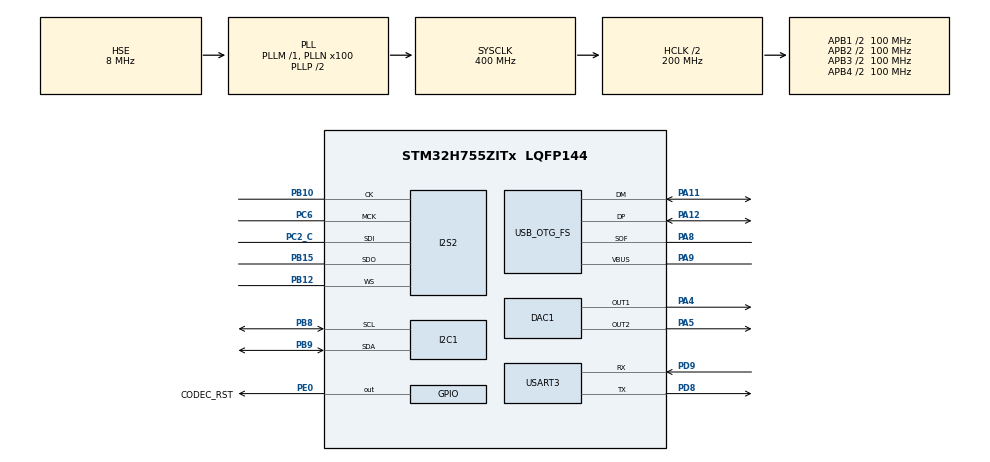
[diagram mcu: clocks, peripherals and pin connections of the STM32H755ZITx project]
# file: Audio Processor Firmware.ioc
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CORTEX_M7.AccessPermission-Cortex_Memory_Protection_Unit_Region0_Settings=MPU_REGION_FULL_ACCESS
CORTEX_M7.BaseAddress-Cortex_Memory_Protection_Unit_Region0_Settings=0x24070000
CORTEX_M7.CPU_DCache=Enabled
CORTEX_M7.CPU_ICache=Enabled
CORTEX_M7.Enable-Cortex_Memory_Protection_Unit_Region0_Settings=MPU_REGION_ENABLE
CORTEX_M7.IsBufferable-Cortex_Memory_Protection_Unit_Region0_Settings=MPU_ACCESS_NOT_BUFFERABLE
CORTEX_M7.IsCacheable-Cortex_Memory_Protection_Unit_Region0_Settings=MPU_ACCESS_CACHEABLE
CORTEX_M7.MPU_Control=MPU_PRIVILEGED_DEFAULT
CORTEX_M7.Size-Cortex_Memory_Protection_Unit_Region0_Settings=MPU_REGION_SIZE_32KB
CORTEX_M7.default_mode_Activation=0
CortexM4.IPs=CORTEX_M4\:I,DEBUG,FATFS_M4\:I,FREERTOS_M4\:I,IWDG2\:I,OPENAMP_M4\:I,PDM2PCM_M4\:I,PWR,RCC,RESMGR_UTILITY,SYS_M4\:I,USB_DEVICE_M4\:I,USB_HOST_M4\:I,VREFBUF,WWDG2\:I,GPIO,DMA,BDMA,MDMA,NVIC2\:I,I2S2
CortexM7.IPs=CORTEX_M7\:I,DEBUG\:I,FATFS_M7\:I,FREERTOS_M7\:I,IWDG1\:I,OPENAMP_M7\:I,PDM2PCM_M7\:I,PWR\:I,RCC\:I,RESMGR_UTILITY\:I,SYS\:I,USB_DEVICE_M7\:I,USB_HOST_M7\:I,VREFBUF\:I,WWDG1\:I,GPIO\:I,DMA\:I,BDMA\:I,MDMA\:I,NVIC1\:I,USART3\:I,DAC1\:I,TIM6\:I,I2C1\:I,I2S2\:I,TIM2\:I,USB_OTG_FS\:I
CortexM7.Pins=PE0
DAC1.DAC_Channel-DAC_OUT1=DAC_CHANNEL_1
DAC1.DAC_Channel-DAC_OUT2=DAC_CHANNEL_2
DAC1.DAC_Trigger-DAC_OUT1=DAC_TRIGGER_T6_TRGO
Dma.DAC1_CH1.0.Direction=DMA_MEMORY_TO_PERIPH
Dma.DAC1_CH1.0.EventEnable=DISABLE
Dma.DAC1_CH1.0.FIFOMode=DMA_FIFOMODE_DISABLE
Dma.DAC1_CH1.0.Instance=DMA1_Stream0
Dma.DAC1_CH1.0.MemDataAlignment=DMA_MDATAALIGN_HALFWORD
Dma.DAC1_CH1.0.MemInc=DMA_MINC_ENABLE
Dma.DAC1_CH1.0.Mode=DMA_CIRCULAR
Dma.DAC1_CH1.0.PeriphDataAlignment=DMA_PDATAALIGN_HALFWORD
Dma.DAC1_CH1.0.PeriphInc=DMA_PINC_DISABLE
Dma.DAC1_CH1.0.Polarity=HAL_DMAMUX_REQ_GEN_RISING
Dma.DAC1_CH1.0.Priority=DMA_PRIORITY_LOW
Dma.DAC1_CH1.0.RequestNumber=1
Dma.DAC1_CH1.0.SignalID=NONE
Dma.DAC1_CH1.0.SyncEnable=DISABLE
Dma.DAC1_CH1.0.SyncPolarity=HAL_DMAMUX_SYNC_NO_EVENT
Dma.DAC1_CH1.0.SyncRequestNumber=1
Dma.DAC1_CH1.0.SyncSignalID=NONE
Dma.DAC1_CH2.3.Direction=DMA_MEMORY_TO_PERIPH
Dma.DAC1_CH2.3.EventEnable=DISABLE
Dma.DAC1_CH2.3.FIFOMode=DMA_FIFOMODE_DISABLE
Dma.DAC1_CH2.3.Instance=DMA1_Stream3
Dma.DAC1_CH2.3.MemDataAlignment=DMA_MDATAALIGN_BYTE
Dma.DAC1_CH2.3.MemInc=DMA_MINC_ENABLE
Dma.DAC1_CH2.3.Mode=DMA_NORMAL
Dma.DAC1_CH2.3.PeriphDataAlignment=DMA_PDATAALIGN_BYTE
Dma.DAC1_CH2.3.PeriphInc=DMA_PINC_DISABLE
Dma.DAC1_CH2.3.Polarity=HAL_DMAMUX_REQ_GEN_RISING
Dma.DAC1_CH2.3.Priority=DMA_PRIORITY_LOW
Dma.DAC1_CH2.3.RequestNumber=1
Dma.DAC1_CH2.3.SignalID=NONE
Dma.DAC1_CH2.3.SyncEnable=DISABLE
Dma.DAC1_CH2.3.SyncPolarity=HAL_DMAMUX_SYNC_NO_EVENT
Dma.DAC1_CH2.3.SyncRequestNumber=1
Dma.DAC1_CH2.3.SyncSignalID=NONE
Dma.Request0=DAC1_CH1
Dma.Request1=SPI2_TX
Dma.Request2=SPI2_RX
Dma.Request3=DAC1_CH2
Dma.SPI2_RX.2.Direction=DMA_PERIPH_TO_MEMORY
Dma.SPI2_RX.2.EventEnable=DISABLE
Dma.SPI2_RX.2.FIFOMode=DMA_FIFOMODE_DISABLE
Dma.SPI2_RX.2.Instance=DMA1_Stream2
Dma.SPI2_RX.2.MemDataAlignment=DMA_MDATAALIGN_WORD
Dma.SPI2_RX.2.MemInc=DMA_MINC_ENABLE
Dma.SPI2_RX.2.Mode=DMA_CIRCULAR
Dma.SPI2_RX.2.PeriphDataAlignment=DMA_PDATAALIGN_WORD
Dma.SPI2_RX.2.PeriphInc=DMA_PINC_DISABLE
Dma.SPI2_RX.2.Polarity=HAL_DMAMUX_REQ_GEN_RISING
Dma.SPI2_RX.2.Priority=DMA_PRIORITY_LOW
Dma.SPI2_RX.2.RequestNumber=1
Dma.SPI2_RX.2.SignalID=NONE
Dma.SPI2_RX.2.SyncEnable=DISABLE
Dma.SPI2_RX.2.SyncPolarity=HAL_DMAMUX_SYNC_NO_EVENT
Dma.SPI2_RX.2.SyncRequestNumber=1
Dma.SPI2_RX.2.SyncSignalID=NONE
Dma.SPI2_TX.1.Direction=DMA_MEMORY_TO_PERIPH
Dma.SPI2_TX.1.EventEnable=DISABLE
Dma.SPI2_TX.1.FIFOMode=DMA_FIFOMODE_DISABLE
Dma.SPI2_TX.1.Instance=DMA1_Stream1
Dma.SPI2_TX.1.MemDataAlignment=DMA_MDATAALIGN_WORD
Dma.SPI2_TX.1.MemInc=DMA_MINC_ENABLE
Dma.SPI2_TX.1.Mode=DMA_CIRCULAR
Dma.SPI2_TX.1.PeriphDataAlignment=DMA_PDATAALIGN_WORD
Dma.SPI2_TX.1.PeriphInc=DMA_PINC_DISABLE
Dma.SPI2_TX.1.Polarity=HAL_DMAMUX_REQ_GEN_RISING
Dma.SPI2_TX.1.Priority=DMA_PRIORITY_LOW
Dma.SPI2_TX.1.RequestNumber=1
Dma.SPI2_TX.1.SignalID=NONE
Dma.SPI2_TX.1.SyncEnable=DISABLE
Dma.SPI2_TX.1.SyncPolarity=HAL_DMAMUX_SYNC_NO_EVENT
Dma.SPI2_TX.1.SyncRequestNumber=1
Dma.SPI2_TX.1.SyncSignalID=NONE
I2C1.CustomTiming=Disabled
I2C1.I2C_Fall_Time=0
I2C1.I2C_Rise_Time=0
I2C1.Speed=20
I2C1.Timing=0xD01065FD
I2S2.AudioFreq=I2S_AUDIOFREQ_48K
I2S2.CPOL=I2S_CPOL_LOW
I2S2.Data24BitAlignment=I2S_DATA_24BIT_ALIGNMENT_RIGHT
I2S2.DataFormat=I2S_DATAFORMAT_24B
I2S2.ErrorAudioFreq=0.15 %
I2S2.Instance=SPI$Index
I2S2.RealAudioFreq=48.076 KHz
I2S2.Standard=I2S_STANDARD_PHILIPS
Mcu.Family=STM32H7
Mcu.Name=STM32H755ZITx
Mcu.Package=LQFP144
NVIC1.DMA1_Stream0_IRQn=true\:0\:0\:false\:false\:true\:false\:true\:true
NVIC1.DMA1_Stream1_IRQn=true\:0\:0\:false\:false\:true\:false\:true\:true
NVIC1.DMA1_Stream2_IRQn=true\:0\:0\:false\:false\:true\:false\:true\:true
NVIC1.DMA1_Stream3_IRQn=true\:0\:0\:false\:false\:true\:false\:true\:true
NVIC1.OTG_FS_IRQn=true\:0\:0\:false\:false\:true\:false\:true\:true
NVIC1.PriorityGroup=NVIC_PRIORITYGROUP_4
NVIC1.SPI2_IRQn=true\:2\:0\:true\:false\:true\:true\:true\:true
NVIC1.TIM6_DAC_IRQn=true\:2\:0\:true\:false\:true\:true\:true\:true
NVIC1.USART3_IRQn=true\:3\:0\:true\:false\:true\:true\:true\:true
NVIC2.PriorityGroup=NVIC_PRIORITYGROUP_4
PA11.Mode=Device_Only
PA11.PinAttribute=CortexM7
PA11.Signal=USB_OTG_FS_DM
PA12.Mode=Device_Only
PA12.PinAttribute=CortexM7
PA12.Signal=USB_OTG_FS_DP
PA4.PinAttribute=CortexM7
PA4.Signal=COMP_DAC11_group
PA5.PinAttribute=CortexM7
PA5.Signal=COMP_DAC12_group
PA8.Mode=Activate_SOF_FS
PA8.PinAttribute=CortexM7
PA8.Signal=USB_OTG_FS_SOF
PA9.Mode=Activate_VBUS
PA9.PinAttribute=CortexM7
PA9.Signal=USB_OTG_FS_VBUS
PB10.Mode=Full_Duplex_Master
PB10.PinAttribute=CortexM7
PB10.Signal=I2S2_CK
PB12.Mode=Full_Duplex_Master
PB12.PinAttribute=CortexM7
PB12.Signal=I2S2_WS
PB15.Mode=Full_Duplex_Master
PB15.PinAttribute=CortexM7
PB15.Signal=I2S2_SDO
PB8.Mode=I2C
PB8.PinAttribute=CortexM7
PB8.Signal=I2C1_SCL
PB9.Mode=I2C
PB9.PinAttribute=CortexM7
PB9.Signal=I2C1_SDA
PC2_C.Mode=Full_Duplex_Master
PC2_C.PinAttribute=CortexM7
PC2_C.Signal=I2S2_SDI
PC6.Mode=Master_Clock_Activated
PC6.PinAttribute=CortexM7
PC6.Signal=I2S2_MCK
PD8.Mode=Asynchronous
PD8.PinAttribute=CortexM7
PD8.Signal=USART3_TX
PD9.Mode=Asynchronous
PD9.PinAttribute=CortexM7
PD9.Signal=USART3_RX
PE0.GPIO_Label=CODEC_RST
PE0.PinAttribute=CortexM7
PE0.Signal=GPIO_Output
PH0-OSC_IN\ (PH0).Mode=HSE-External-Clock-Source
PH0-OSC_IN\ (PH0).PinAttribute=Free
PH0-OSC_IN\ (PH0).Signal=RCC_OSC_IN
ProjectManager.HeapSize=M4-0x400,M7-0x4000
ProjectManager.StackSize=M4-0x400,M7-0x2000
ProjectManager.TargetToolchain=STM32CubeIDE
RCC.ADCFreq_Value=16125000
RCC.APB1Freq_Value=100000000
RCC.APB2Freq_Value=100000000
RCC.APB3Freq_Value=100000000
RCC.APB4Freq_Value=100000000
RCC.CortexFreq_Value=400000000
RCC.D1PPRE=RCC_APB3_DIV2
RCC.D2PPRE1=RCC_APB1_DIV2
RCC.D2PPRE2=RCC_APB2_DIV2
RCC.D3PPRE=RCC_APB4_DIV2
RCC.DIVM1=1
RCC.DIVM3=1
RCC.DIVN1=100
RCC.DIVN3=24
RCC.DIVQ1=13
RCC.DIVQ3=4
RCC.HCLKFreq_Value=200000000
RCC.HPRE=RCC_HCLK_DIV2
RCC.HSE_VALUE=8000000
RCC.PLL1_VCI_Range-AdvancedSettings=RCC_PLL1VCIRANGE_0
RCC.PLL2FRACN=0
RCC.PLL3FRACN=0
RCC.PLL3_VCI_Range-AdvancedSettings=RCC_PLL3VCIRANGE_0
RCC.PLLFRACN=0
RCC.PLLSourceVirtual=RCC_PLLSOURCE_HSE
RCC.PWR_Regulator_Voltage_Scale=PWR_REGULATOR_VOLTAGE_SCALE1
RCC.SYSCLKFreq_VALUE=400000000
RCC.SYSCLKSource=RCC_SYSCLKSOURCE_PLLCLK
RCC.USBCLockSelection=RCC_USBCLKSOURCE_PLL3
RCC.USBFreq_Value=48000000
SH.COMP_DAC11_group.0=DAC1_OUT1,DAC_OUT1
SH.COMP_DAC12_group.0=DAC1_OUT2,DAC_OUT2
SYS.userName=SYS_M7
TIM6.AutoReloadPreload=TIM_AUTORELOAD_PRELOAD_DISABLE
TIM6.Period=4150
TIM6.TIM_MasterOutputTrigger=TIM_TRGO_UPDATE
USART3.VirtualMode-Asynchronous=VM_ASYNC
USB_DEVICE_M7.CLASS_NAME_FS=AUDIO
USB_DEVICE_M7.USBD_AUDIO_FREQ-AUDIO_FS=48000
USB_DEVICE_M7.USBD_MAX_NUM_INTERFACES-AUDIO_FS=2
USB_DEVICE_M7.VirtualMode-AUDIO_FS=Audio
USB_DEVICE_M7.VirtualModeFS=Audio_FS
USB_OTG_FS.Sof_enable=ENABLE
USB_OTG_FS.VirtualMode=Device_Only
VP_SYS_M4_VS_Systick.Mode=SysTick
VP_TIM2_VS_ClockSourceINT.Mode=Internal
VP_TIM6_VS_ClockSourceINT.Mode=Enable_Timer
VP_USB_DEVICE_M7_VS_USB_DEVICE_AUDIO_FS.Mode=AUDIO_FS
board=custom

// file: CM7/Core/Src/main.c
/* USER CODE BEGIN Header */
/**
 ******************************************************************************
 * @file           : main.c
 * @brief          : Main program body
 ******************************************************************************
 * @attention
 *
 * Copyright (c) 2024 STMicroelectronics.
 * All rights reserved.
 *
 * This software is licensed under terms that can be found in the LICENSE file
 * in the root directory of this software component.
 * If no LICENSE file comes with this software, it is provided AS-IS.
 *
 ******************************************************************************
 */
/* USER CODE END Header */
#include "main.h"
#include "usb_device.h"

/* USER CODE BEGIN Includes */
#include "audio_defs.h"
#include "internal_peripheral_driver.h"
#include "cs4272.h"
#include "encoder.h"
#include "delay_line.h"
#include "console.h"
#include "uart_driver.h"
#include "driver_manager.h"
#include "block.h"
#include "channel.h"
#include "lsblk.h"
#include "insblk.h"
#include "help.h"
#include "stat.h"
#include "lsdrv.h"
#include "lsparam.h"
#include "lschain.h"
#include "rmblk.h"
#include "setparam.h"
#include "mkdelay.h"
#include "mkbiquad.h"
#include "mkeq.h"
#include "block_list.h"
#include "con_modulator.h"
#include "logger.h"
#include "usb_audio_driver.h"
#include "arm_math.h"
#include "audio_engine.h"
/* USER CODE END Includes */

/* USER CODE BEGIN PD */

#ifndef HSEM_ID_0
#define HSEM_ID_0 (0U) /* HW semaphore 0*/
#endif

/* USER CODE END PD */

DAC_HandleTypeDef hdac1;
DMA_HandleTypeDef hdma_dac1_ch1;
DMA_HandleTypeDef hdma_dac1_ch2;

I2C_HandleTypeDef hi2c1;

I2S_HandleTypeDef hi2s2;
DMA_HandleTypeDef hdma_spi2_tx;
DMA_HandleTypeDef hdma_spi2_rx;

TIM_HandleTypeDef htim2;
TIM_HandleTypeDef htim6;

UART_HandleTypeDef huart3;

/* USER CODE BEGIN PV */

struct AudioDriver mcu_internal_driver =
{
		.io_ops = &int_per_drv_ops,
		.name = "MCU Internal Hardware Driver",
		.private_data = &hdac1
};

struct TerminalDriver uart_driver =
{
		.io_ops = &uart_drv_ops,
		.name = "UART Driver",
		.private_data = &huart3
};

struct CS4272_PrivateData cs4272_pd =
{
		.i2s_hndl = &hi2s2,
		.i2c_hndl = &hi2c1
};

struct AudioDriver cs4272_driver =
{
		.io_ops = &cs4272_ops,
		.name = "Cirrus Logic CS4272 CODEC Driver",
		.private_data = &cs4272_pd
};

struct HostDriver usb_driver =
{
		.io_ops = &usb_audio_class_driver,
		.name = "USB Audio Class Driver",
		.private_data = NULL
};

float32_t processing_buffers[SAMPLES_PER_BLOCK * NUM_CHANNELS];
float32_t processing_buffers2[SAMPLES_PER_BLOCK * NUM_CHANNELS];

uint8_t temp_next_block_ready;

char* script_delaylines =
	"mkdelay dl_0 2 50000\n\
setparam dl_0 0 0\n\
setparam dl_0 1 24000\n\
setparam dl_0 2 1.0\n\
setparam dl_0 3 0.5\n\
setparam dl_0 4 0.25\n\
mkdelay dl_1 2 50000\n\
setparam dl_1 0 0\n\
setparam dl_1 1 24000\n\
setparam dl_1 2 1.0\n\
setparam dl_1 3 0.5\n\
setparam dl_1 4 0.25\n\
insblk dl_0 0\n\
insblk dl_1 1\n\
END";

char* script_filters =
	"mkbiquad bq_0 2 220 0.5 2 48000\n\
insblk bq_0 0\n\
mkbiquad bq_1 0 220 0.5 2 48000\n\
insblk bq_1 1\n\
END";

char* script_eq =
	"mkeq eq_0\n\
insblk eq_0 0\n\
END";
/* USER CODE END PV */

void SystemClock_Config(void);
static void MPU_Initialize(void);
static void MPU_Config(void);
static void MX_GPIO_Init(void);
static void MX_DMA_Init(void);
static void MX_DAC1_Init(void);
static void MX_USART3_UART_Init(void);
static void MX_TIM6_Init(void);
static void MX_I2C1_Init(void);
static void MX_I2S2_Init(void);
static void MX_TIM2_Init(void);

/* USER CODE BEGIN 0 */
static float32_t test[128];
static float32_t t = 0;
inline static void process_block()
{
	LOG_TIME_START(LOG_TIME_PRBLOCK_ID);

	LOG_TIME_START(LOG_TIME_USB_RD);
	host_device->io_ops->dev_data_read(host_device, processing_buffers, SAMPLES_PER_BLOCK * 2);
	LOG_TIME_STOP(LOG_TIME_USB_RD);

	audio_engine_process(processing_buffers, processing_buffers2, SAMPLES_PER_BLOCK);

	LOG_TIME_START(LOG_TIME_AUDIO_WR);
	audio_device->io_ops->write(audio_device, processing_buffers2, SAMPLES_PER_BLOCK);
	LOG_TIME_STOP(LOG_TIME_AUDIO_WR);

	for (size_t i = 0; i < 128; i++)
	{
		test[i] = sin(t);
		t += 2.f * 3.1415f * 20.f / 48000.f;
		if (t >= 2.f * 3.1415f)
			t -= 2.f * 3.1415f;
	}
	host_device->io_ops->dev_data_write(host_device, test, 128);

	LOG_TIME_STOP(LOG_TIME_PRBLOCK_ID);
}

/* USER CODE END 0 */

int main(void)
{
  /* USER CODE BEGIN 1 */
	// AUDIO

  /* USER CODE END 1 */
/* USER CODE BEGIN Boot_Mode_Sequence_0 */
	//int32_t timeout;
/* USER CODE END Boot_Mode_Sequence_0 */

  /* Enable I-Cache---------------------------------------------------------*/
  //SCB_EnableICache();

  /* Enable D-Cache---------------------------------------------------------*/
  //SCB_EnableDCache();

/* USER CODE BEGIN Boot_Mode_Sequence_1 */
	/* Wait until CPU2 boots and enters in stop mode or timeout*/
	/*timeout = 0xFFFF;
	while((__HAL_RCC_GET_FLAG(RCC_FLAG_D2CKRDY) != RESET) && (timeout-- > 0));
	if ( timeout < 0 )
	{
		Error_Handler();
	}*/
/* USER CODE END Boot_Mode_Sequence_1 */
  /* MCU Configuration--------------------------------------------------------*/

  /* Reset of all peripherals, Initializes the Flash interface and the Systick. */
  HAL_Init();

  /* MPU Configuration--------------------------------------------------------*/
  MPU_Config();

  /* Configure the system clock */
  SystemClock_Config();
/* USER CODE BEGIN Boot_Mode_Sequence_2 */
	/* When system initialization is finished, Cortex-M7 will release Cortex-M4 by means of
HSEM notification */
	/*HW semaphore Clock enable*/
	__HAL_RCC_HSEM_CLK_ENABLE();
	/*Take HSEM */
	HAL_HSEM_FastTake(HSEM_ID_0);
	/*Release HSEM in order to notify the CPU2(CM4)*/
	HAL_HSEM_Release(HSEM_ID_0,0);
	/* wait until CPU2 wakes up from stop mode */

/* USER CODE END Boot_Mode_Sequence_2 */

  /* Initialize all configured peripherals */
  MX_GPIO_Init();
  MX_DMA_Init();
  MX_DAC1_Init();
  MX_USART3_UART_Init();
  MX_TIM6_Init();
  MX_I2C1_Init();
  MX_I2S2_Init();
  MX_TIM2_Init();
  MX_USB_DEVICE_Init();
  /* USER CODE BEGIN 2 */
#ifdef ENABLE_LOGGING
  logger_init(&htim2);
  logger_timer_set_name(LOG_TIME_PRBLOCK_ID, "process_block");
  logger_timer_set_name(LOG_TIME_USB_RD, "usb_driver_read");
  logger_timer_set_name(LOG_TIME_USB_WR, "usb_driver_write");
  logger_timer_set_name(LOG_TIME_AUDIO_WR, "audio_driver_write");
  logger_timer_set_name(LOG_AUDENG_PROCESS_1, "audio_stream_1_process");
  logger_timer_set_name(LOG_AUDENG_PROCESS_2, "audio_stream_2_process");
#endif
  drvman_init();
  drvman_set_terminal_driver(&uart_driver);
  console_init();

  for (size_t i = 0; i < 25; i++)
	  console_printf("\n\r");

  console_printf("=========================================\n\r");
  console_printf("      Audio Processor Firmware v0.1      \n\r");
  console_printf("=========================================\n\r");

  blocklist_init();

  console_register_command("help\0", help);
  console_register_command("stat\0", stat);
  console_register_command("lsblk\0", lsblk);
  console_register_command("mkdelay\0", mkdelay);
  console_register_command("mkmod\0", modulator_create);
  console_register_command("mkbiquad\0", mkbiquad);
  console_register_command("mkeq\0", mkeq);
  console_register_command("insblk\0", insblk);
  console_register_command("rmblk\0", rmblk);
  console_register_command("lsdrv\0", lsdrv);
  console_register_command("lsparam\0", lsparam);
  console_register_command("lschain\0", lschain);
  console_register_command("setparam\0", setparam);

  drvman_set_host_driver(&usb_driver);
  drvman_set_audio_driver(&cs4272_driver);

  audio_engine_init();

  console_exec("");
  //console_exec_script(script_eq);
  /* USER CODE END 2 */

  /* Infinite loop */
  /* USER CODE BEGIN WHILE */
  uint32_t t = 0;
  uint8_t test[3] = {5, 5, 5};

	while (1)
	{
		console_iteration();
		if (temp_next_block_ready)
		{
			process_block();
			temp_next_block_ready = 0;
		}
    /* USER CODE END WHILE */

	}
}

void SystemClock_Config(void)
{
  RCC_OscInitTypeDef RCC_OscInitStruct = {0};
  RCC_ClkInitTypeDef RCC_ClkInitStruct = {0};

  /** Supply configuration update enable
  */
  HAL_PWREx_ConfigSupply(PWR_DIRECT_SMPS_SUPPLY);

  /** Configure the main internal regulator output voltage
  */
  __HAL_PWR_VOLTAGESCALING_CONFIG(PWR_REGULATOR_VOLTAGE_SCALE1);

  while(!__HAL_PWR_GET_FLAG(PWR_FLAG_VOSRDY)) {}

  /** Initializes the RCC Oscillators according to the specified parameters
  * in the RCC_OscInitTypeDef structure.
  */
  RCC_OscInitStruct.OscillatorType = RCC_OSCILLATORTYPE_HSE;
  RCC_OscInitStruct.HSEState = RCC_HSE_BYPASS;
  RCC_OscInitStruct.PLL.PLLState = RCC_PLL_ON;
  RCC_OscInitStruct.PLL.PLLSource = RCC_PLLSOURCE_HSE;
  RCC_OscInitStruct.PLL.PLLM = 1;
  RCC_OscInitStruct.PLL.PLLN = 100;
  RCC_OscInitStruct.PLL.PLLP = 2;
  RCC_OscInitStruct.PLL.PLLQ = 13;
  RCC_OscInitStruct.PLL.PLLR = 2;
  RCC_OscInitStruct.PLL.PLLRGE = RCC_PLL1VCIRANGE_3;
  RCC_OscInitStruct.PLL.PLLVCOSEL = RCC_PLL1VCOWIDE;
  RCC_OscInitStruct.PLL.PLLFRACN = 0;
  if (HAL_RCC_OscConfig(&RCC_OscInitStruct) != HAL_OK)
  {
    Error_Handler();
  }

  /** Initializes the CPU, AHB and APB buses clocks
  */
  RCC_ClkInitStruct.ClockType = RCC_CLOCKTYPE_HCLK|RCC_CLOCKTYPE_SYSCLK
                              |RCC_CLOCKTYPE_PCLK1|RCC_CLOCKTYPE_PCLK2
                              |RCC_CLOCKTYPE_D3PCLK1|RCC_CLOCKTYPE_D1PCLK1;
  RCC_ClkInitStruct.SYSCLKSource = RCC_SYSCLKSOURCE_PLLCLK;
  RCC_ClkInitStruct.SYSCLKDivider = RCC_SYSCLK_DIV1;
  RCC_ClkInitStruct.AHBCLKDivider = RCC_HCLK_DIV2;
  RCC_ClkInitStruct.APB3CLKDivider = RCC_APB3_DIV2;
  RCC_ClkInitStruct.APB1CLKDivider = RCC_APB1_DIV2;
  RCC_ClkInitStruct.APB2CLKDivider = RCC_APB2_DIV2;
  RCC_ClkInitStruct.APB4CLKDivider = RCC_APB4_DIV2;

  if (HAL_RCC_ClockConfig(&RCC_ClkInitStruct, FLASH_LATENCY_2) != HAL_OK)
  {
    Error_Handler();
  }
}

static void MX_DAC1_Init(void)
{

  DAC_ChannelConfTypeDef sConfig = {0};

  /** DAC Initialization
  */
  hdac1.Instance = DAC1;
  if (HAL_DAC_Init(&hdac1) != HAL_OK)
  {
    Error_Handler();
  }

  /** DAC channel OUT1 config
  */
  sConfig.DAC_SampleAndHold = DAC_SAMPLEANDHOLD_DISABLE;
  sConfig.DAC_Trigger = DAC_TRIGGER_T6_TRGO;
  sConfig.DAC_OutputBuffer = DAC_OUTPUTBUFFER_ENABLE;
  sConfig.DAC_ConnectOnChipPeripheral = DAC_CHIPCONNECT_DISABLE;
  sConfig.DAC_UserTrimming = DAC_TRIMMING_FACTORY;
  if (HAL_DAC_ConfigChannel(&hdac1, &sConfig, DAC_CHANNEL_1) != HAL_OK)
  {
    Error_Handler();
  }

  /** DAC channel OUT2 config
  */
  sConfig.DAC_Trigger = DAC_TRIGGER_NONE;
  if (HAL_DAC_ConfigChannel(&hdac1, &sConfig, DAC_CHANNEL_2) != HAL_OK)
  {
    Error_Handler();
  }

}

static void MX_I2C1_Init(void)
{

  hi2c1.Instance = I2C1;
  hi2c1.Init.Timing = 0xD01065FD;
  hi2c1.Init.OwnAddress1 = 0;
  hi2c1.Init.AddressingMode = I2C_ADDRESSINGMODE_7BIT;
  hi2c1.Init.DualAddressMode = I2C_DUALADDRESS_DISABLE;
  hi2c1.Init.OwnAddress2 = 0;
  hi2c1.Init.OwnAddress2Masks = I2C_OA2_NOMASK;
  hi2c1.Init.GeneralCallMode = I2C_GENERALCALL_DISABLE;
  hi2c1.Init.NoStretchMode = I2C_NOSTRETCH_DISABLE;
  if (HAL_I2C_Init(&hi2c1) != HAL_OK)
  {
    Error_Handler();
  }

  /** Configure Analogue filter
  */
  if (HAL_I2CEx_ConfigAnalogFilter(&hi2c1, I2C_ANALOGFILTER_ENABLE) != HAL_OK)
  {
    Error_Handler();
  }

  /** Configure Digital filter
  */
  if (HAL_I2CEx_ConfigDigitalFilter(&hi2c1, 0) != HAL_OK)
  {
    Error_Handler();
  }

}

static void MX_I2S2_Init(void)
{

  hi2s2.Instance = SPI2;
  hi2s2.Init.Mode = I2S_MODE_MASTER_FULLDUPLEX;
  hi2s2.Init.Standard = I2S_STANDARD_PHILIPS;
  hi2s2.Init.DataFormat = I2S_DATAFORMAT_24B;
  hi2s2.Init.MCLKOutput = I2S_MCLKOUTPUT_ENABLE;
  hi2s2.Init.AudioFreq = I2S_AUDIOFREQ_48K;
  hi2s2.Init.CPOL = I2S_CPOL_LOW;
  hi2s2.Init.FirstBit = I2S_FIRSTBIT_MSB;
  hi2s2.Init.WSInversion = I2S_WS_INVERSION_DISABLE;
  hi2s2.Init.Data24BitAlignment = I2S_DATA_24BIT_ALIGNMENT_RIGHT;
  hi2s2.Init.MasterKeepIOState = I2S_MASTER_KEEP_IO_STATE_DISABLE;
  if (HAL_I2S_Init(&hi2s2) != HAL_OK)
  {
    Error_Handler();
  }

}

static void MX_TIM2_Init(void)
{

  TIM_ClockConfigTypeDef sClockSourceConfig = {0};
  TIM_MasterConfigTypeDef sMasterConfig = {0};

  htim2.Instance = TIM2;
  htim2.Init.Prescaler = 0;
  htim2.Init.CounterMode = TIM_COUNTERMODE_UP;
  htim2.Init.Period = 4294967295;
  htim2.Init.ClockDivision = TIM_CLOCKDIVISION_DIV1;
  htim2.Init.AutoReloadPreload = TIM_AUTORELOAD_PRELOAD_DISABLE;
  if (HAL_TIM_Base_Init(&htim2) != HAL_OK)
  {
    Error_Handler();
  }
  sClockSourceConfig.ClockSource = TIM_CLOCKSOURCE_INTERNAL;
  if (HAL_TIM_ConfigClockSource(&htim2, &sClockSourceConfig) != HAL_OK)
  {
    Error_Handler();
  }
  sMasterConfig.MasterOutputTrigger = TIM_TRGO_RESET;
  sMasterConfig.MasterSlaveMode = TIM_MASTERSLAVEMODE_DISABLE;
  if (HAL_TIMEx_MasterConfigSynchronization(&htim2, &sMasterConfig) != HAL_OK)
  {
    Error_Handler();
  }

}

static void MX_TIM6_Init(void)
{

  TIM_MasterConfigTypeDef sMasterConfig = {0};

  htim6.Instance = TIM6;
  htim6.Init.Prescaler = 0;
  htim6.Init.CounterMode = TIM_COUNTERMODE_UP;
  htim6.Init.Period = 4150;
  htim6.Init.AutoReloadPreload = TIM_AUTORELOAD_PRELOAD_DISABLE;
  if (HAL_TIM_Base_Init(&htim6) != HAL_OK)
  {
    Error_Handler();
  }
  sMasterConfig.MasterOutputTrigger = TIM_TRGO_UPDATE;
  sMasterConfig.MasterSlaveMode = TIM_MASTERSLAVEMODE_DISABLE;
  if (HAL_TIMEx_MasterConfigSynchronization(&htim6, &sMasterConfig) != HAL_OK)
  {
    Error_Handler();
  }

}

static void MX_USART3_UART_Init(void)
{

  huart3.Instance = USART3;
  huart3.Init.BaudRate = 115200;
  huart3.Init.WordLength = UART_WORDLENGTH_8B;
  huart3.Init.StopBits = UART_STOPBITS_1;
  huart3.Init.Parity = UART_PARITY_NONE;
  huart3.Init.Mode = UART_MODE_TX_RX;
  huart3.Init.HwFlowCtl = UART_HWCONTROL_NONE;
  huart3.Init.OverSampling = UART_OVERSAMPLING_16;
  huart3.Init.OneBitSampling = UART_ONE_BIT_SAMPLE_DISABLE;
  huart3.Init.ClockPrescaler = UART_PRESCALER_DIV1;
  huart3.AdvancedInit.AdvFeatureInit = UART_ADVFEATURE_NO_INIT;
  if (HAL_UART_Init(&huart3) != HAL_OK)
  {
    Error_Handler();
  }
  if (HAL_UARTEx_SetTxFifoThreshold(&huart3, UART_TXFIFO_THRESHOLD_1_8) != HAL_OK)
  {
    Error_Handler();
  }
  if (HAL_UARTEx_SetRxFifoThreshold(&huart3, UART_RXFIFO_THRESHOLD_1_8) != HAL_OK)
  {
    Error_Handler();
  }
  if (HAL_UARTEx_DisableFifoMode(&huart3) != HAL_OK)
  {
    Error_Handler();
  }

}

static void MX_DMA_Init(void)
{

  /* DMA controller clock enable */
  __HAL_RCC_DMA1_CLK_ENABLE();

  /* DMA interrupt init */
  /* DMA1_Stream0_IRQn interrupt configuration */
  HAL_NVIC_SetPriority(DMA1_Stream0_IRQn, 0, 0);
  HAL_NVIC_EnableIRQ(DMA1_Stream0_IRQn);
  /* DMA1_Stream1_IRQn interrupt configuration */
  HAL_NVIC_SetPriority(DMA1_Stream1_IRQn, 0, 0);
  HAL_NVIC_EnableIRQ(DMA1_Stream1_IRQn);
  /* DMA1_Stream2_IRQn interrupt configuration */
  HAL_NVIC_SetPriority(DMA1_Stream2_IRQn, 0, 0);
  HAL_NVIC_EnableIRQ(DMA1_Stream2_IRQn);
  /* DMA1_Stream3_IRQn interrupt configuration */
  HAL_NVIC_SetPriority(DMA1_Stream3_IRQn, 0, 0);
  HAL_NVIC_EnableIRQ(DMA1_Stream3_IRQn);

}

static void MX_GPIO_Init(void)
{
  GPIO_InitTypeDef GPIO_InitStruct = {0};

  /* GPIO Ports Clock Enable */
  __HAL_RCC_GPIOC_CLK_ENABLE();
  __HAL_RCC_GPIOA_CLK_ENABLE();
  __HAL_RCC_GPIOB_CLK_ENABLE();
  __HAL_RCC_GPIOD_CLK_ENABLE();
  __HAL_RCC_GPIOE_CLK_ENABLE();

  /*Configure GPIO pin Output Level */
  HAL_GPIO_WritePin(CODEC_RST_GPIO_Port, CODEC_RST_Pin, GPIO_PIN_RESET);

  /*Configure GPIO pin : CODEC_RST_Pin */
  GPIO_InitStruct.Pin = CODEC_RST_Pin;
  GPIO_InitStruct.Mode = GPIO_MODE_OUTPUT_PP;
  GPIO_InitStruct.Pull = GPIO_NOPULL;
  GPIO_InitStruct.Speed = GPIO_SPEED_FREQ_LOW;
  HAL_GPIO_Init(CODEC_RST_GPIO_Port, &GPIO_InitStruct);

}

/* MPU Configuration */

void MPU_Config(void)
{
  MPU_Region_InitTypeDef MPU_InitStruct = {0};

  /* Disables the MPU */
  HAL_MPU_Disable();

  /** Initializes and configures the Region and the memory to be protected
  */
  MPU_InitStruct.Enable = MPU_REGION_ENABLE;
  MPU_InitStruct.Number = MPU_REGION_NUMBER0;
  MPU_InitStruct.BaseAddress = 0x24070000;
  MPU_InitStruct.Size = MPU_REGION_SIZE_32KB;
  MPU_InitStruct.SubRegionDisable = 0x0;
  MPU_InitStruct.TypeExtField = MPU_TEX_LEVEL0;
  MPU_InitStruct.AccessPermission = MPU_REGION_FULL_ACCESS;
  MPU_InitStruct.DisableExec = MPU_INSTRUCTION_ACCESS_ENABLE;
  MPU_InitStruct.IsShareable = MPU_ACCESS_NOT_SHAREABLE;
  MPU_InitStruct.IsCacheable = MPU_ACCESS_CACHEABLE;
  MPU_InitStruct.IsBufferable = MPU_ACCESS_NOT_BUFFERABLE;

  HAL_MPU_ConfigRegion(&MPU_InitStruct);
  /* Enables the MPU */
  HAL_MPU_Enable(MPU_PRIVILEGED_DEFAULT);

}

void Error_Handler(void)
{
	__disable_irq();
	while (1)
	{
	}
}
